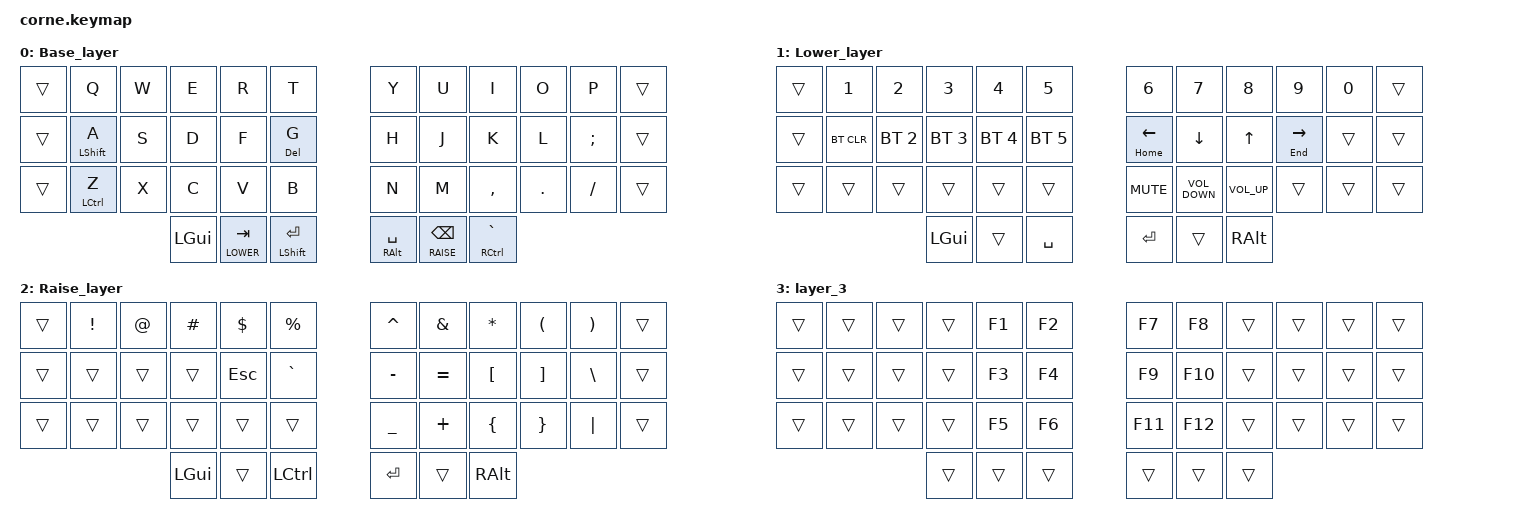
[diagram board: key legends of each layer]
// keymapper.dev

#include <behaviors.dtsi>
#include <dt-bindings/zmk/bt.h>
#include <dt-bindings/zmk/keys.h>

#define BASE 0
#define LOWER 1
#define RAISE 2

/ {
    combos {
        compatible = "zmk,combos";

        combo_combo_SINGLE_QUOTE {
            timeout-ms = <50>;
            key-positions = <21 22>;
            layers = <BASE>;
            bindings = <&kp SINGLE_QUOTE>;
        };

        combo_ESC {
            timeout-ms = <50>;
            key-positions = <15 16>;
            bindings = <&kp ESCAPE>;
        };

        PARENTHESIS {
            bindings = <&kp LEFT_PARENTHESIS>;
            key-positions = <7 8>;
        };

        BRACKET {
            bindings = <&kp LEFT_BRACKET>;
            key-positions = <19 20>;
        };

        BRACE {
            bindings = <&kp LEFT_BRACE>;
            key-positions = <31 32>;
        };

        CLOSE_PAREN {
            bindings = <&kp RIGHT_PARENTHESIS>;
            key-positions = <8 9>;
        };

        CLOSE_BRACKET {
            bindings = <&kp RIGHT_BRACKET>;
            key-positions = <20 21>;
        };

        CLOSE_BRACE {
            bindings = <&kp RIGHT_BRACE>;
            key-positions = <32 33>;
        };

        layer_3 {
            bindings = <&sl 3>;
            key-positions = <37 40>;
        };
    };

    behaviors {
        hm: homerow_mods {
            compatible = "zmk,behavior-hold-tap";
            label = "HOMEROW_MODS";
            #binding-cells = <2>;
            tapping-term-ms = <250>;
            quick_tap_ms = <0>;
            flavor = "tap-preferred";
            bindings = <&kp>, <&kp>;
        };
    };

    keymap {
        compatible = "zmk,keymap";

        Base_layer {
            bindings = <
&trans  &kp Q             &kp W  &kp E         &kp R          &kp T              &kp Y           &kp U                &kp I            &kp O       &kp P          &trans
&trans  &hm LEFT_SHIFT A  &kp S  &kp D         &kp F          &hm DELETE G       &kp H           &kp J                &kp K            &kp L       &kp SEMICOLON  &trans
&trans  &hm LCTRL Z       &kp X  &kp C         &kp V          &kp B              &kp N           &kp M                &kp COMMA        &kp PERIOD  &kp SLASH      &trans
                                 &kp LEFT_GUI  &lt LOWER TAB  &hm LSHFT ENTER    &hm RALT SPACE  &lt RAISE BACKSPACE  &hm RCTRL GRAVE
            >;
        };

        Lower_layer {
            bindings = <
&trans  &kp NUMBER_1  &kp NUMBER_2  &kp NUMBER_3  &kp NUMBER_4  &kp NUMBER_5    &kp NUMBER_6   &kp NUMBER_7       &kp NUMBER_8     &kp NUMBER_9   &kp NUMBER_0  &trans
&trans  &bt BT_CLR    &bt BT_SEL 2  &bt BT_SEL 3  &bt BT_SEL 4  &bt BT_SEL 5    &hm HOME LEFT  &kp DOWN_ARROW     &kp UP_ARROW     &hm END RIGHT  &trans        &trans
&trans  &trans        &trans        &trans        &trans        &trans          &kp K_MUTE     &kp C_VOLUME_DOWN  &kp C_VOLUME_UP  &trans         &trans        &trans
                                    &kp LEFT_GUI  &trans        &kp SPACE       &kp RETURN     &trans             &kp RIGHT_ALT
            >;
        };

        Raise_layer {
            bindings = <
&trans  &kp EXCLAMATION  &kp AT_SIGN  &kp HASH      &kp DOLLAR  &kp PERCENT         &kp CARET       &kp AMPERSAND  &kp ASTERISK      &kp LEFT_PARENTHESIS  &kp RIGHT_PARENTHESIS  &trans
&trans  &trans           &trans       &trans        &kp ESCAPE  &kp GRAVE           &kp MINUS       &kp EQUAL      &kp LEFT_BRACKET  &kp RIGHT_BRACKET     &kp BACKSLASH          &trans
&trans  &trans           &trans       &trans        &trans      &trans              &kp UNDERSCORE  &kp PLUS       &kp LEFT_BRACE    &kp RIGHT_BRACE       &kp PIPE               &trans
                                      &kp LEFT_GUI  &trans      &kp LEFT_CONTROL    &kp RETURN      &trans         &kp RIGHT_ALT
            >;
        };

        layer_3 {
            bindings = <
&trans  &trans  &trans  &trans  &kp F1  &kp F2    &kp F7   &kp F8   &trans  &trans  &trans  &trans
&trans  &trans  &trans  &trans  &kp F3  &kp F4    &kp F9   &kp F10  &trans  &trans  &trans  &trans
&trans  &trans  &trans  &trans  &kp F5  &kp F6    &kp F11  &kp F12  &trans  &trans  &trans  &trans
                        &trans  &trans  &trans    &trans   &trans   &trans
            >;
        };
    };
};
